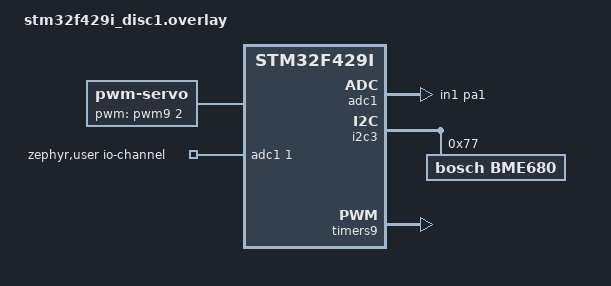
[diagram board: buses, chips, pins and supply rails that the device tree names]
/ {
    servo: servo {
        /* Servo motor on tim9_ch2_pe6 on PE_6 */
        compatible = "pwm-servo";
        pwms = <&pwm9 2 PWM_MSEC(20) PWM_POLARITY_NORMAL>;
        min-pulse = <PWM_USEC(700)>;
        max-pulse = <PWM_USEC(2500)>;
    };

    aliases {
        led0 = &green_led_3;
        led1 = &red_led_4;
    };

    zephyr,user {
        /* adjust channel number according to pinmux in board.dts */
        io-channels = <&adc1 1>; /* ADC1_1 on pin PA_1 */
    };

    chosen {
        perso,bme680 = &bme680;
    };
};

/* https://docs.zephyrproject.org/3.6.0/build/dts/api/bindings/adc/st,stm32-adc.html */
&adc1 {
    pinctrl-0 = <&adc1_in1_pa1>;
    pinctrl-names = "default";
    st,adc-clock-source = "SYNC";
    st,adc-prescaler = <4>;
    status = "okay";
};

&i2c3 {
    bme680: bme680@77 {
        compatible = "bosch,bme680";
        reg = <0x77>;
    };
};

&timers9 {
    status = "okay";
    st,prescaler = <1000>;

    pwm9: pwm {
        status = "okay";
        pinctrl-0 = <&tim9_ch2_pe6>;
        pinctrl-names = "default";
    };
};
